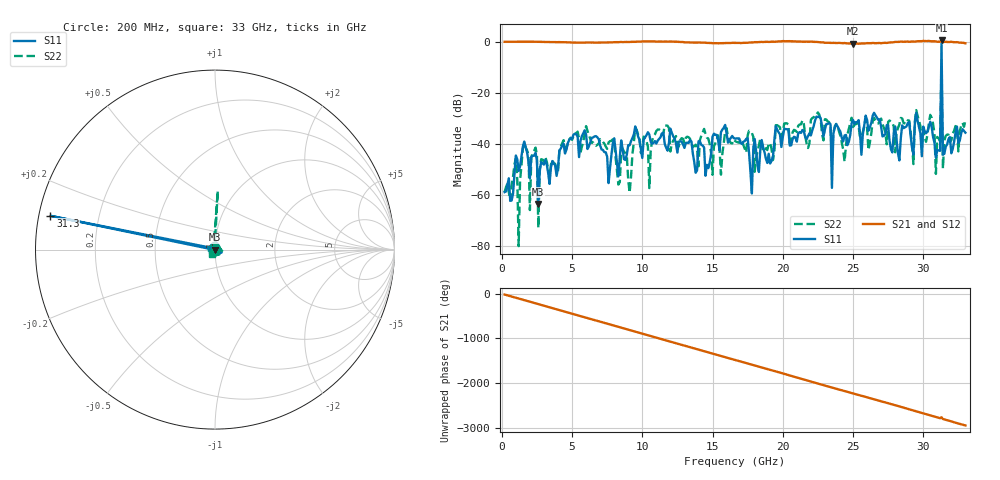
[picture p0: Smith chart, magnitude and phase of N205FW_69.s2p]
# GHZ S RI R 50
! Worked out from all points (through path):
!   329 points, 200 MHz to 33 GHz, reference 50 ohm
!   highest |S21| = 0.53 dB at 31.3 GHz (marker M1); lowest = -0.8 dB at 25 GHz (marker M2)
!   lowest |S11| = -63.5 dB at 2.6 GHz (marker M3), VSWR 1.00, Z = 50 - j0.0563 ohm
!   |S11| at or under -10 dB: start of sweep to 31.28 GHz; 31.32 GHz to end of sweep
!   |S22| runs from -80.1 to -9.7 dB; largest |S21 - S12| = 0.033
!   S11 on the Smith chart (normalised r, x): 200 MHz: 1.00, -0.00; 31.3 GHz: 0.03, +0.10; 33 GHz: 0.97, -0.00
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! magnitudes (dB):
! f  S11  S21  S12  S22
! 200 MHz  -58.9  0.0  0.0  -58.9
! 1 GHz  -44.5  0.0  0.0  -45.6
! 1.2 GHz  -50.6  0.0  0.0  -80.1
! 1.5 GHz  -41.1  0.0  0.0  -41.7
! 2 GHz  -53.5  0.1  0.1  -65.9
! 2.4 GHz  -43.5  0.0  0.0  -41.4
! 2.6 GHz  -63.5  0.0  0.0  -72.9
! 2.8 GHz  -47.1  0.0  0.0  -46.0
! 5.7 GHz  -36.9  -0.3  -0.3  -41.1
! 9.1 GHz  -40.5  -0.1  -0.1  -59.2
! 11.2 GHz  -38.1  0.1  0.1  -34.4
! 16.6 GHz  -37.9  -0.5  -0.5  -38.8
! 17.8 GHz  -59.4  -0.3  -0.3  -35.7
! 22.1 GHz  -34.7  0.0  0.0  -29.9
! 23.4 GHz  -32.3  -0.5  -0.5  -33.3
! 23.5 GHz  -57.2  -0.4  -0.4  -46.5
! 25 GHz  -30.6  -0.8  -0.8  -33.3
! 27.6 GHz  -38.7  -0.2  -0.2  -30.8
! 31.2 GHz  -42.7  0.1  0.1  -39.0
! 31.3 GHz  -0.6  0.5  0.3  -9.7
! 31.4 GHz  -44.1  -0.1  -0.1  -49.7
! 33 GHz  -35.6  -0.6  -0.6  -30.8
